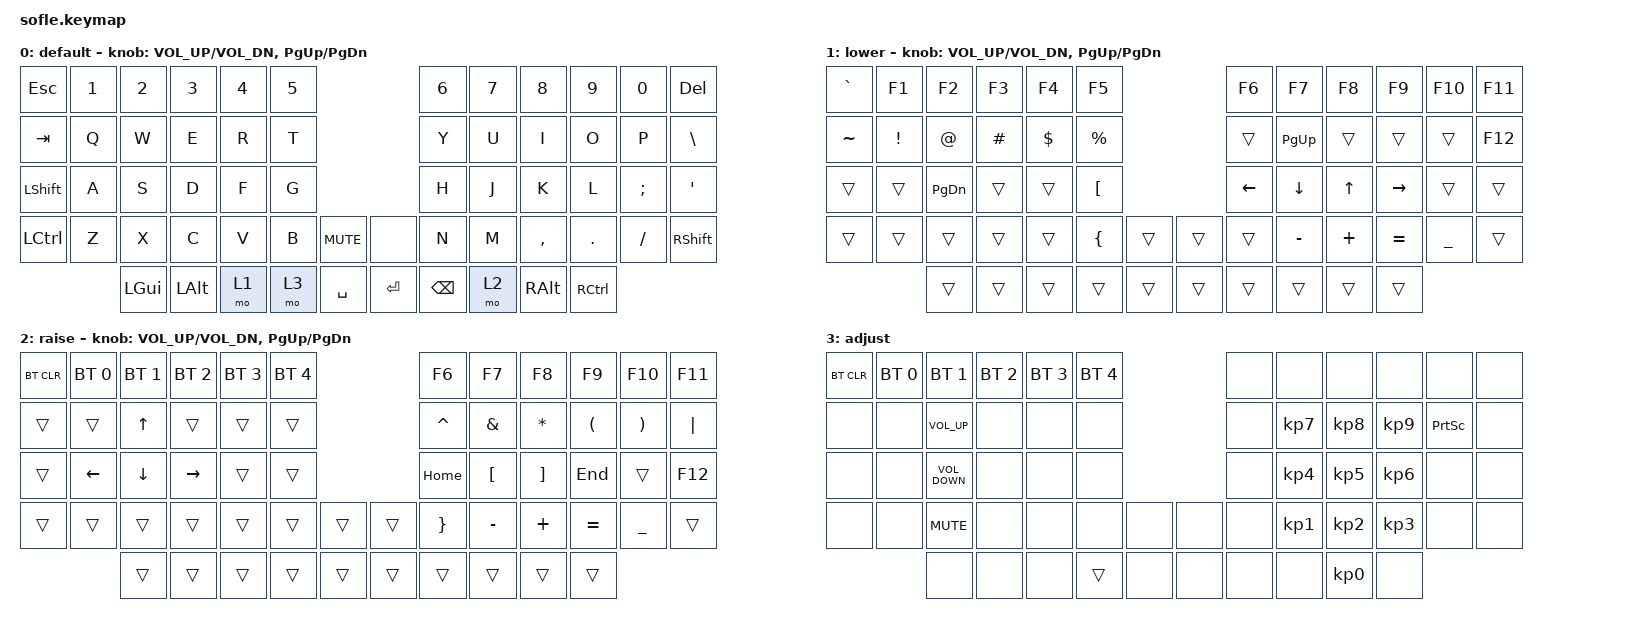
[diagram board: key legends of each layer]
/*
 * Copyright (c) 2020 The ZMK Contributors
 *
 * SPDX-License-Identifier: MIT
 */

#include <behaviors.dtsi>
#include <dt-bindings/zmk/bt.h>
#include <dt-bindings/zmk/keys.h>

#define BASE 0
#define LOWER 1
#define RAISE 2
#define ADJUST 3

/ {
    // Activate ADJUST layer by pressing raise and lower

    conditional_layers { compatible = "zmk,conditional-layers"; };

    keymap {
        compatible = "zmk,keymap";

        default_layer {
            display-name = "default";

            // ------------------------------------------------------------------------------------------------------------
            // |   `   |  1  |  2  |  3   |  4   |  5   |                   |  6   |  7    |  8    |  9   |   0   |       |
            // |  ESC  |  Q  |  W  |  E   |  R   |  T   |                   |  Y   |  U    |  I    |  O   |   P   | BKSPC |
            // |  TAB  |  A  |  S  |  D   |  F   |  G   |                   |  H   |  J    |  K    |  L   |   ;   |   '   |
            // | SHIFT |  Z  |  X  |  C   |  V   |  B   |  MUTE  |  |       |  N   |  M    |  ,    |  .   |   /   | SHIFT |
            //               | GUI | ALT  | CTRL | LOWER|  ENTER |  | SPACE | RAISE| CTRL  | ALT   | GUI  |

            bindings = <
&kp ESC           &kp N1  &kp N2    &kp N3        &kp N4  &kp N5                           &kp N6         &kp N7  &kp N8         &kp N9             &kp N0    &kp DELETE
&kp TAB           &kp Q   &kp W     &kp E         &kp R   &kp T                            &kp Y          &kp U   &kp I          &kp O              &kp P     &kp BACKSLASH
&kp LSHIFT        &kp A   &kp S     &kp D         &kp F   &kp G                            &kp H          &kp J   &kp K          &kp L              &kp SEMI  &kp SQT
&kp LEFT_CONTROL  &kp Z   &kp X     &kp C         &kp V   &kp B   &kp C_MUTE    &none      &kp N          &kp M   &kp COMMA      &kp DOT            &kp FSLH  &kp RSHFT
                          &kp LGUI  &kp LEFT_ALT  &mo 1   &mo 3   &kp SPACE     &kp ENTER  &kp BACKSPACE  &mo 2   &kp RIGHT_ALT  &kp RIGHT_CONTROL
            >;

            sensor-bindings = <&inc_dec_kp C_VOL_UP C_VOL_DN &inc_dec_kp PG_UP PG_DN>;
        };

        lower_layer {
            display-name = "lower";

            // TODO: Some binds are waiting for shifted keycode support.
            // ------------------------------------------------------------------------------------------------------------
            // |       |  F1 |  F2 |  F3  |  F4  |  F5  |                   |  F6  |  F7   |  F8   |  F9  |  F10  |  F11  |
            // |   `   |  1  |  2  |  3   |  4   |  5   |                   |  6   |  7    |  8    |  9   |   0   |  F12  |
            // |       |  !  |  @  |  #   |  $   |  %   |                   |  ^   |  &    |  *    |  (   |   )   |   |   |
            // |       |  =  |  -  |  +   |  {   |  }   |        |  |       |  [   |  ]    |  ;    |  :   |   \   |       |
            //               |     |      |      |      |        |  |       |      |       |       |      |

            bindings = <
&kp GRAVE  &kp F1           &kp F2         &kp F3    &kp F4      &kp F5                              &kp F6    &kp F7       &kp F8        &kp F9     &kp F10    &kp F11
&kp TILDE  &kp EXCLAMATION  &kp AT         &kp HASH  &kp DOLLAR  &kp PERCENT                         &trans    &kp PAGE_UP  &trans        &trans     &trans     &kp F12
&trans     &trans           &kp PAGE_DOWN  &trans    &trans      &kp LEFT_BRACKET                    &kp LEFT  &kp DOWN     &kp UP_ARROW  &kp RIGHT  &trans     &trans
&trans     &trans           &trans         &trans    &trans      &kp LEFT_BRACE    &trans    &trans  &trans    &kp MINUS    &kp PLUS      &kp EQUAL  &kp UNDER  &trans
                            &trans         &trans    &trans      &trans            &trans    &trans  &trans    &trans       &trans        &trans
            >;

            sensor-bindings = <&inc_dec_kp C_VOL_UP C_VOL_DN &inc_dec_kp PG_UP PG_DN>;
        };

        raise_layer {
            display-name = "raise";

            // ------------------------------------------------------------------------------------------------------------
            // | BTCLR | BT1  | BT2  |  BT3  |  BT4  |  BT5 |                |      |      |       |      |       |       |
            // |       | INS  | PSCR | GUI   |       |      |                | PGUP |      |   ^   |      |       |       |
            // |       | ALT  | CTRL | SHIFT |       | CAPS |                | PGDN |   <- |   v   |  ->  |  DEL  | BKSPC |
            // |       | UNDO | CUT  | COPY  | PASTE |      |      |  |      |      |      |       |      |       |       |
            //                |      |       |       |      |      |  |      |      |      |       |      |

            bindings = <
&bt BT_CLR  &bt BT_SEL 0  &bt BT_SEL 1  &bt BT_SEL 2  &bt BT_SEL 3  &bt BT_SEL 4                    &kp F6           &kp F7            &kp F8             &kp F9                &kp F10                &kp F11
&trans      &trans        &kp UP_ARROW  &trans        &trans        &trans                          &kp CARET        &kp AMPERSAND     &kp ASTERISK       &kp LEFT_PARENTHESIS  &kp RIGHT_PARENTHESIS  &kp PIPE
&trans      &kp LEFT      &kp DOWN      &kp RIGHT     &trans        &trans                          &kp HOME         &kp LEFT_BRACKET  &kp RIGHT_BRACKET  &kp END               &trans                 &kp F12
&trans      &trans        &trans        &trans        &trans        &trans        &trans    &trans  &kp RIGHT_BRACE  &kp MINUS         &kp PLUS           &kp EQUAL             &kp UNDER              &trans
                          &trans        &trans        &trans        &trans        &trans    &trans  &trans           &trans            &trans             &trans
            >;

            sensor-bindings = <&inc_dec_kp C_VOL_UP C_VOL_DN &inc_dec_kp PG_UP PG_DN>;
        };

        adjust_layer {
            // ----------------------------------------------------------------------------------------------------------------------------
            // | BTCLR  |  BT1    |  BT2    |   BT3   |   BT4   |   BT5   |                  |      |      |       |      |       |       |
            // | EXTPWR | RGB_HUD | RGB_HUI | RGB_SAD | RGB_SAI | RGB_EFF |                  |      |      |       |      |       |       |
            // |        | RGB_BRD | RGB_BRI |         |         |         |                  |      |      |       |      |       |       |
            // |        |         |         |         |         |         | RGB_TOG | |      |      |      |       |      |       |       |
            //                    |         |         |         |         |         | |      |      |      |       |      |

            display-name = "adjust";
            bindings = <
&bt BT_CLR  &bt BT_SEL 0  &bt BT_SEL 1       &bt BT_SEL 2  &bt BT_SEL 3  &bt BT_SEL 4                  &none  &none            &none            &none            &none            &none
&none       &none         &kp C_VOL_UP       &none         &none         &none                         &none  &kp KP_NUMBER_7  &kp KP_NUMBER_8  &kp KP_NUMBER_9  &kp PRINTSCREEN  &none
&none       &none         &kp C_VOLUME_DOWN  &none         &none         &none                         &none  &kp KP_NUMBER_4  &kp KP_NUMBER_5  &kp KP_NUMBER_6  &none            &none
&none       &none         &kp C_MUTE         &none         &none         &none         &none    &none  &none  &kp KP_NUMBER_1  &kp KP_NUMBER_2  &kp KP_NUMBER_3  &none            &none
                          &none              &none         &none         &trans        &none    &none  &none  &none            &kp KP_NUMBER_0  &none
            >;
        };
    };
};
